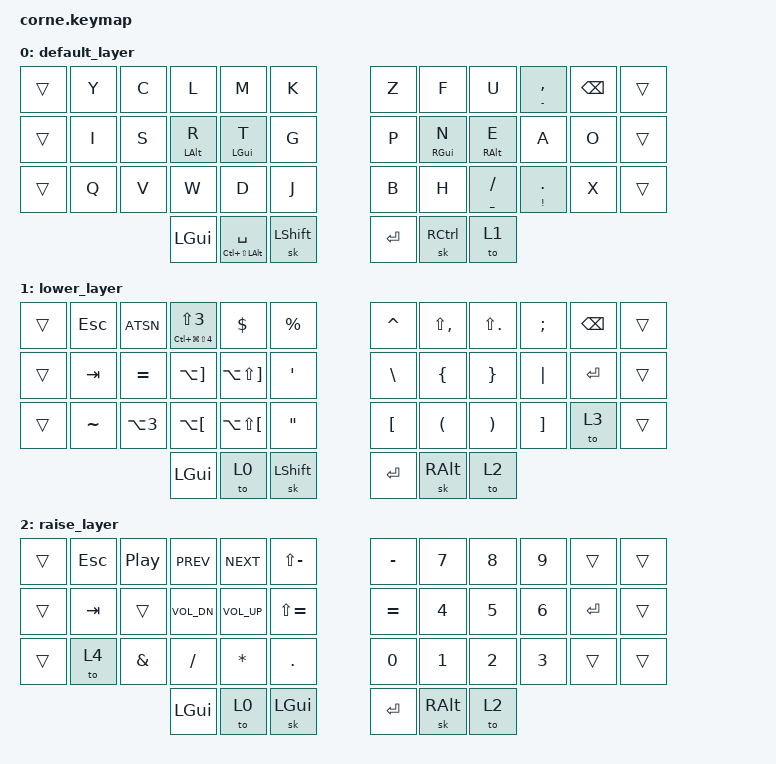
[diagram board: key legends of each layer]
/*
 * Copyright (c) 2020 The ZMK Contributors
 *
 * SPDX-License-Identifier: MIT
 */

#include <behaviors.dtsi>
#include <dt-bindings/zmk/keys.h>
#include <dt-bindings/zmk/bt.h>
#include <dt-bindings/zmk/mouse.h>


/ {

    behaviors {
        hm: homerow_mods {
            compatible = "zmk,behavior-hold-tap";
            label = "HOMEROW_MODS";
            #binding-cells = <2>;
            tapping-term-ms = <200>;
            quick_tap_ms = <0>;
            flavor = "tap-preferred";
            bindings = <&kp>, <&kp>;
        };
	td: tapdance {
            compatible = "zmk,behavior-hold-tap";
            label = "TAPDANCE";
            #binding-cells = <2>;
            tapping-term-ms = <150>;
            quick_tap_ms = <0>;
            flavor = "tap-preferred";
            bindings = <&kp>, <&kp>;
        };
    };

        keymap {
                compatible = "zmk,keymap";

                default_layer {
// -----------------------------------------------------------------------------------------
// |  Q  |  W  |  E  |  R  |  T  |   |  Y  |  U   |  I  |  O  |  P  |
// |  A  |  S  |  D  |  F  |  G  |   |  H  |  J   |  K  |  L  |  ;  |
// |  Z  |  X  |  C  |  V  |  B  |   |  N  |  M   |  ,  |  .  |  /  |
//                    | GUI | LWR | SPC |   | ENT | RSE  | BSPC |
   		bindings = <
		&trans		&kp Y &kp C &kp L &kp M &kp K 						&kp Z &kp F  &kp U    &td MINUS COMMA  &kp BKSP    	&trans
		&trans		&kp I &kp S &hm LALT R &hm LGUI T &kp G 			       	&kp P &hm RGUI N &hm RALT E &kp A &kp O		   	&trans
		&trans		&kp Q &kp V &kp W &kp D &kp J				        &kp B &kp H  &td UNDERSCORE SLASH &td EXCL DOT &kp X	   	&trans
          			&kp LGUI &mt LC(LS(LALT)) SPC &sk LSHIFT  				&kp ENTER &sk RCTRL &to 1
                        >;
                };
                lower_layer {
// -----------------------------------------------------------------------------------------
// |  1  |  2  |  3  |  4  |  5  |   |  6  |  7  |  8  |  9  |  0  |
// | BT1 | BT2 | BT3 | BT4 | BT5 |   | LFT | DWN |  UP | RGT |     |
// |     |     |     |     |     |   |     |  7  |  8  |  9  |     |
//                    | GUI |     | SPC |   | ENT |     | ALT |
		bindings = <
		&trans		&kp ESC  &kp ATSN   &td LC(LG(LS(N4))) LS(N3) &kp DLLR    &kp PRCNT		&kp CARET &kp LS(COMMA) &kp LS(DOT) &kp SEMI &kp BKSP 		&trans
		&trans		&kp TAB    &kp EQUAL    &kp LA(RBKT)      &kp LA(LS(RBKT))     &kp SQT 		&kp BSLH &kp LBRC  &kp RBRC &kp PIPE  &kp ENTER			&trans
		&trans		&kp TILDE    &kp LA(N3) 	&kp LA(LBKT) &kp LA(LS(LBKT))  &kp DQT 	&kp LBKT &kp LPRN &kp RPRN &kp RBKT  &to 3 				&trans
					&kp LGUI &to 0  &sk LSHIFT  					&kp ENTER &sk RALT &to 2 
		>;
                };

                raise_layer {
// -----------------------------------------------------------------------------------------
// |  TAB |  !  |  @  |  #  |  $  |  %  |   |  ^  |  &  |  *  |  (  |  )  | BKSP |
// | CTRL |     |     |     |     |     |   |  -  |  =  |  [  |  ]  |  \  |  `   |
// | SHFT |     |     |     |     |     |   |  _  |  +  |  {  |  }  | "|" |  ~   |
//                    | GUI |     | SPC |   | ENT |     | ALT |
		bindings = <
		&trans		&kp ESC  &kp C_PP &kp C_PREV  &kp C_NEXT  &kp LS(MINUS)    			&kp MINUS  &kp N7 &kp N8 &kp N9 &trans				&trans
		&trans		&kp TAB  &trans   &kp C_VOL_DN  &kp C_VOL_UP  &kp LS(EQUAL) 			&kp EQUAL &kp N4  &kp N5  &kp N6   &kp ENTER			&trans
		&trans		&to 4  &kp AMPS &kp SLASH &kp STAR &kp DOT    			&kp N0 &kp N1 &kp N2 &kp N3  &trans 						&trans
					&kp LGUI &to 0 &sk LGUI  				&kp ENTER &sk RALT  &to 2 
                >;
                };
        };
};
